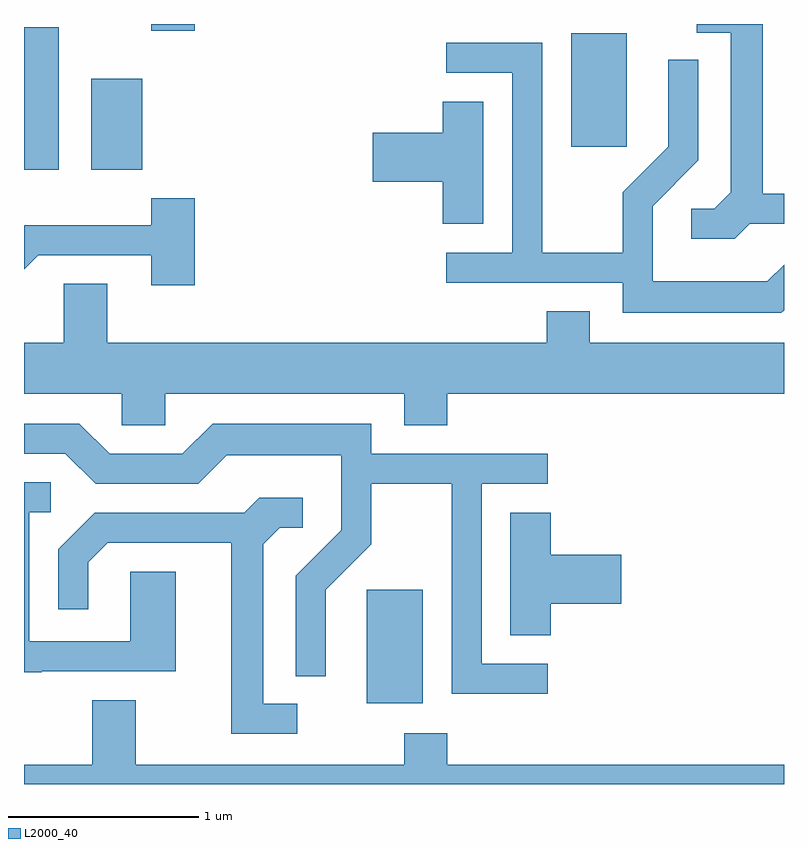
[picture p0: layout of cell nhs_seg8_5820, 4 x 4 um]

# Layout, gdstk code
import gdstk
lib = gdstk.Library(unit=1e-6, precision=1e-09)
def R(c, l, rs):  # rectangles x0, y0, x1, y1
    for r in rs: c.add(gdstk.rectangle(r[:2], r[2:], *l))
def P(c, l, *ps):  # polygons
    for p in ps: c.add(gdstk.Polygon(p, *l))
L2000_40 = (2000, 40)

nhs_seg8_5820 = lib.new_cell('nhs_seg8_5820')
R(nhs_seg8_5820, L2000_40, [(361.416,1854.766,361.709,1855.364), (359.611,1857.576,359.794,1858.324), (359.966,1857.576,360.234,1858.054), (362.491,1857.696,362.784,1858.294), (360.281,1858.306,360.509,1858.342)])
P(nhs_seg8_5820, L2000_40, [(363.432,1857.291),(363.611,1857.291),(363.611,1857.449),(363.499,1857.449),(363.499,1858.342),(363.153,1858.342),(363.153,1858.296),(363.331,1858.296),(363.331,1857.457),(363.244,1857.369),(363.123,1857.369),(363.123,1857.211),(363.352,1857.211)],
  [(363.611,1856.835),(363.611,1857.076),(363.524,1856.989),(362.919,1856.989),(362.919,1857.384),(363.159,1857.624),(363.159,1858.153),(363.001,1858.153),(363.001,1857.697),(362.761,1857.457),(362.761,1857.139),(362.339,1857.139),(362.339,1858.244),(361.833,1858.244),(361.833,1858.086),(362.181,1858.086),(362.181,1857.139),(361.833,1857.139),(361.833,1856.981),(362.761,1856.981),(362.761,1856.821),(363.597,1856.821)],
  [(362.029,1857.934),(361.816,1857.934),(361.816,1857.769),(361.446,1857.769),(361.446,1857.511),(361.816,1857.511),(361.816,1857.291),(362.029,1857.291)],
  [(360.509,1857.424),(360.281,1857.424),(360.281,1857.284),(359.614,1857.284),(359.611,1857.281),(359.611,1857.051),(359.687,1857.126),(360.281,1857.126),(360.281,1856.966),(360.509,1856.966)],
  [(360.354,1856.396),(361.611,1856.396),(361.611,1856.231),(361.839,1856.231),(361.839,1856.396),(363.611,1856.396),(363.611,1856.664),(362.589,1856.664),(362.589,1856.829),(362.361,1856.829),(362.361,1856.664),(360.049,1856.664),(360.049,1856.974),(359.821,1856.974),(359.821,1856.664),(359.611,1856.664),(359.611,1856.396),(360.126,1856.396),(360.126,1856.231),(360.354,1856.231)],
  [(362.368,1854.974),(362.019,1854.974),(362.019,1855.921),(362.368,1855.921),(362.368,1856.079),(361.439,1856.079),(361.439,1856.239),(360.604,1856.239),(360.444,1856.079),(360.062,1856.079),(359.902,1856.239),(359.611,1856.239),(359.611,1856.081),(359.829,1856.081),(359.989,1855.921),(360.527,1855.921),(360.677,1856.071),(361.281,1856.071),(361.281,1855.677),(361.041,1855.437),(361.041,1854.908),(361.199,1854.908),(361.199,1855.364),(361.439,1855.604),(361.439,1855.921),(361.861,1855.921),(361.861,1854.816),(362.368,1854.816)],
  [(359.705,1854.936),(360.409,1854.936),(360.409,1855.459),(360.171,1855.459),(360.171,1855.094),(359.639,1855.094),(359.639,1855.771),(359.753,1855.771),(359.753,1855.929),(359.611,1855.929),(359.611,1854.931),(359.705,1854.931)],
  [(361.048,1854.764),(360.869,1854.764),(360.869,1855.604),(360.957,1855.691),(361.078,1855.691),(361.078,1855.849),(360.849,1855.849),(360.769,1855.769),(359.984,1855.769),(359.791,1855.577),(359.791,1855.263),(359.949,1855.263),(359.949,1855.509),(360.052,1855.611),(360.701,1855.611),(360.701,1854.606),(361.048,1854.606)],
  [(362.384,1855.291),(362.754,1855.291),(362.754,1855.549),(362.384,1855.549),(362.384,1855.769),(362.171,1855.769),(362.171,1855.126),(362.384,1855.126)],
  [(363.611,1854.444),(361.839,1854.444),(361.839,1854.609),(361.611,1854.609),(361.611,1854.444),(360.199,1854.444),(360.199,1854.784),(359.971,1854.784),(359.971,1854.444),(359.611,1854.444),(359.611,1854.342),(363.611,1854.342)])

lib.write_gds('nhs_seg8_5820.gds')
